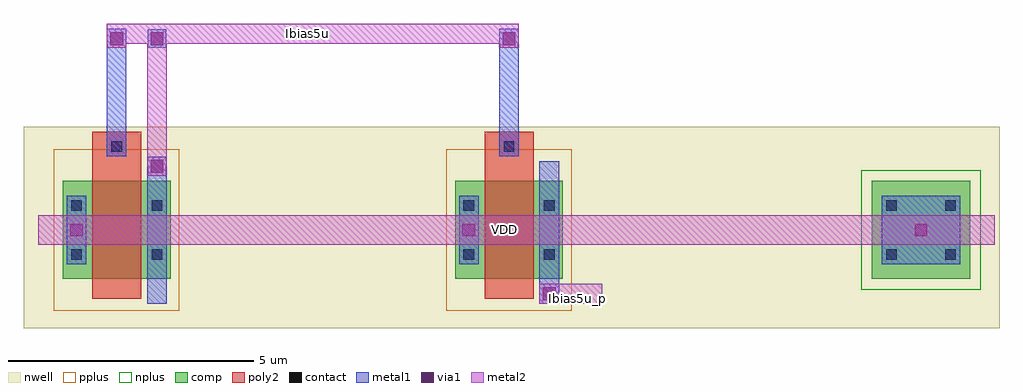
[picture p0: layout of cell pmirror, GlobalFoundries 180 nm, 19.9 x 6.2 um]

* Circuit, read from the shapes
.subckt pmirror Ibias5u Ibias5u_p VDD
XM1 Ibias5u Ibias5u VDD VDD pfet_03v3 w=2u l=1u
XM2 Ibias5u_p Ibias5u VDD VDD pfet_03v3 w=2u l=1u
.ends

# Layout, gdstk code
import gdstk
lib = gdstk.Library(unit=1e-6, precision=1e-09)
def R(c, l, rs):  # rectangles x0, y0, x1, y1
    for r in rs: c.add(gdstk.rectangle(r[:2], r[2:], *l))
def A(c, l, x, y, w, h, nx, ny, dx, dy):  # array of equal rectangles
    R(c, l, [(x+i*dx, y+j*dy, x+i*dx+w, y+j*dy+h) for i in range(nx) for j in range(ny)])
nwell = (21, 0)
comp = (22, 0)
poly2 = (30, 0)
pplus = (31, 0)
nplus = (32, 0)
contact = (33, 0)
metal1 = (34, 0)
via1 = (35, 0)
metal2 = (36, 0)

pmirror = lib.new_cell('pmirror')
R(pmirror, nwell, [(-0.8,-1,19.1,3.1)])
R(pmirror, comp, [(0,0,2.2,2), (8,0,10.2,2), (16.5,0,18.5,2)])
R(pmirror, poly2, [(0.6,-0.4,1.6,2.4), (8.6,-0.4,9.6,2.4), (0.6,2.4,1.6,3), (8.6,2.4,9.6,3)])
R(pmirror, pplus, [(-0.18,-0.65,2.38,2.65), (7.82,-0.65,10.38,2.65)])
R(pmirror, nplus, [(16.28,-0.22,18.72,2.22)])
R(pmirror, contact, [(0.17,0.39,0.39,0.61), (1.81,0.39,2.03,0.61), (8.17,0.39,8.39,0.61), (9.81,0.39,10.03,0.61), (16.79,0.39,17.01,0.61), (17.99,0.39,18.21,0.61), (0.17,1.39,0.39,1.61), (1.81,1.39,2.03,1.61), (8.17,1.39,8.39,1.61), (9.81,1.39,10.03,1.61), (16.79,1.39,17.01,1.61), (17.99,1.39,18.21,1.61), (0.99,2.59,1.21,2.81), (8.99,2.59,9.21,2.81)])
A(pmirror, metal1, 0.09, 0.31, 0.38, 0.38, 1, 3, 0, 0.5)
A(pmirror, metal1, 8.09, 0.31, 0.38, 0.38, 1, 3, 0, 0.5)
R(pmirror, metal1, [(1.72,-0.5,2.12,2.4), (9.72,-0.5,10.12,2.4), (9.73,-0.49,10.11,-0.11), (0.08,0.3,0.48,1.7), (8.08,0.3,8.48,1.7), (16.7,0.3,18.3,1.7), (1.73,0.31,2.11,0.69), (9.73,0.31,10.11,0.69), (16.71,0.31,17.09,0.69), (17.91,0.31,18.29,0.69), (17.31,0.81,17.69,1.19), (1.73,1.31,2.11,1.69), (9.73,1.31,10.11,1.69), (16.71,1.31,17.09,1.69), (17.91,1.31,18.29,1.69), (1.73,2.11,2.11,2.49), (0.9,2.5,1.3,5.1), (8.9,2.5,9.3,5.1), (0.91,2.51,1.29,2.89), (8.91,2.51,9.29,2.89), (0.91,4.71,1.29,5.09), (1.73,4.71,2.11,5.09), (8.91,4.71,9.29,5.09)])
R(pmirror, via1, [(9.79,-0.43,10.05,-0.17), (0.15,0.87,0.41,1.13), (8.15,0.87,8.41,1.13), (17.37,0.87,17.63,1.13), (1.79,2.17,2.05,2.43), (0.97,4.77,1.23,5.03), (1.79,4.77,2.05,5.03), (8.97,4.77,9.23,5.03)])
R(pmirror, metal2, [(9.72,-0.5,11,-0.1), (9.73,-0.49,10.11,-0.11), (-0.5,0.7,19,1.3), (0.09,0.81,0.47,1.19), (8.09,0.81,8.47,1.19), (17.31,0.81,17.69,1.19), (1.73,2.11,2.11,2.49), (1.72,2.3,2.12,5), (0.91,4.71,1.29,5.09), (1.73,4.71,2.11,5.09), (8.91,4.71,9.29,5.09), (0.9,4.8,9.3,5.2)])
pmirror.add(gdstk.Label('VDD', (9,1), layer=36, texttype=10))
pmirror.add(gdstk.Label('Ibias5u', (5,5), layer=36, texttype=10))
pmirror.add(gdstk.Label('Ibias5u_p', (10.5,-0.4), layer=36, texttype=10))

lib.write_gds('pmirror.gds')
